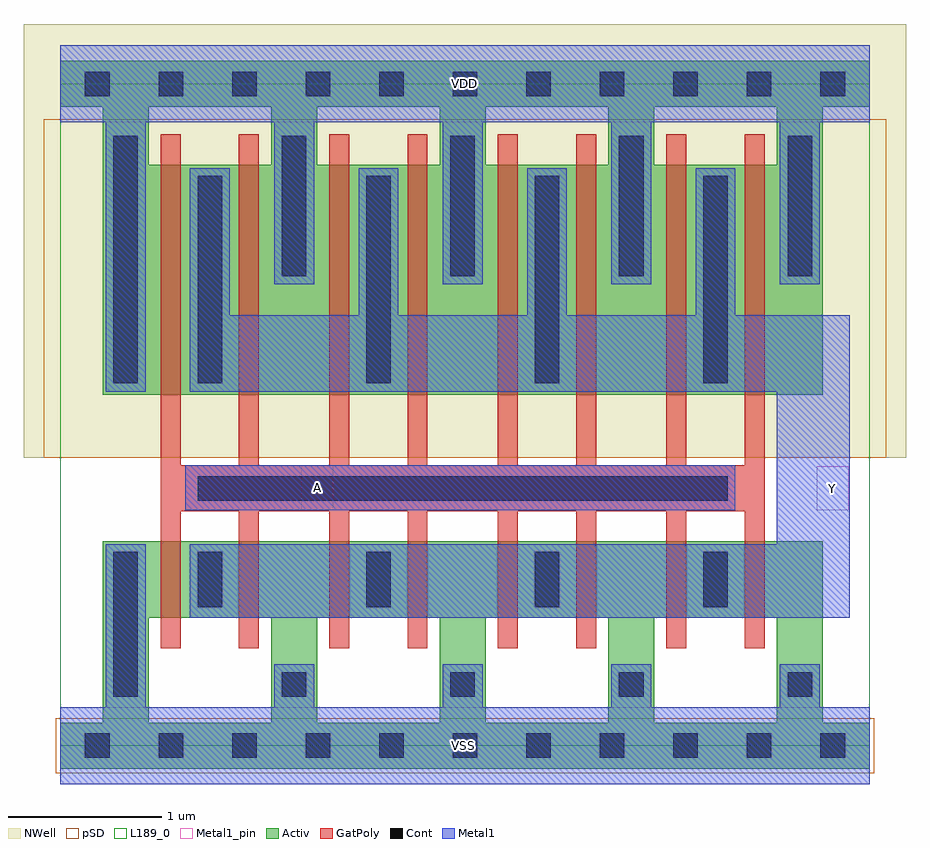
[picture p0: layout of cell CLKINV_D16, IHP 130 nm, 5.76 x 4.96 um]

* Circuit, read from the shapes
.subckt CLKINV_D16 A VDD VSS Y
XM1 Y A VSS VSS sg13_lv_nmos w=0.5u l=0.13u m=8
XM2 Y A VDD VDD sg13_lv_pmos w=1.5u l=0.13u m=8
.ends

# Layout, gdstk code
import gdstk
lib = gdstk.Library(unit=1e-6, precision=1e-09)
def R(c, l, rs):  # rectangles x0, y0, x1, y1
    for r in rs: c.add(gdstk.rectangle(r[:2], r[2:], *l))
def A(c, l, x, y, w, h, nx, ny, dx, dy):  # array of equal rectangles
    R(c, l, [(x+i*dx, y+j*dy, x+i*dx+w, y+j*dy+h) for i in range(nx) for j in range(ny)])
def P(c, l, *ps):  # polygons
    for p in ps: c.add(gdstk.Polygon(p, *l))
Activ = (1, 0)
GatPoly = (5, 0)
Cont = (6, 0)
Metal1 = (8, 0)
Metal1_pin = (8, 2)
pSD = (14, 0)
NWell = (31, 0)
L189_0 = (189, 0)

clkinv_d16 = lib.new_cell('CLKINV_D16')
P(clkinv_d16, Activ, [(0.275,2.29),(0.275,4.17),(0.575,4.17),(0.575,3.79),(1.375,3.79),(1.375,4.17),(1.675,4.17),(1.675,3.79),(2.475,3.79),(2.775,3.79),(3.575,3.79),(3.575,4.17),(3.875,4.17),(3.875,3.79),(4.675,3.79),(4.675,4.17),(2.775,4.17),(2.775,3.79),(2.475,3.79),(2.475,4.17),(0,4.17),(0,4.47),(5.28,4.47),(5.28,4.17),(4.975,4.17),(4.975,2.29)],
  [(0,-0.15),(0,0.15),(0.275,0.15),(0.575,0.15),(1.375,0.15),(1.675,0.15),(2.475,0.15),(2.775,0.15),(3.575,0.15),(3.875,0.15),(4.675,0.15),(4.675,0.835),(3.875,0.835),(3.875,0.15),(3.575,0.15),(3.575,0.835),(2.775,0.835),(2.775,0.15),(2.475,0.15),(2.475,0.835),(1.675,0.835),(1.675,0.15),(1.375,0.15),(1.375,0.835),(0.575,0.835),(0.575,0.15),(0.275,0.15),(0.275,1.335),(4.975,1.335),(4.975,0.15),(5.28,0.15),(5.28,-0.15)])
P(clkinv_d16, GatPoly, [(0.655,0.635),(0.655,3.99),(0.785,3.99),(0.785,1.83),(1.165,1.83),(1.165,3.99),(1.295,3.99),(1.295,1.83),(1.755,1.83),(1.755,3.99),(1.885,3.99),(1.885,1.83),(2.265,1.83),(2.265,3.99),(2.395,3.99),(2.395,1.83),(2.855,1.83),(2.855,3.99),(2.985,3.99),(2.985,1.83),(3.365,1.83),(3.365,3.99),(3.495,3.99),(3.495,1.83),(3.955,1.83),(3.955,3.99),(4.085,3.99),(4.085,1.83),(4.465,1.83),(4.465,3.99),(4.595,3.99),(4.595,0.635),(4.465,0.635),(4.465,1.53),(4.085,1.53),(4.085,0.635),(3.955,0.635),(3.955,1.53),(3.495,1.53),(3.495,0.635),(3.365,0.635),(3.365,1.53),(2.985,1.53),(2.985,0.635),(2.855,0.635),(2.855,1.53),(2.395,1.53),(2.395,0.635),(2.265,0.635),(2.265,1.53),(1.885,1.53),(1.885,0.635),(1.755,0.635),(1.755,1.53),(1.295,1.53),(1.295,0.635),(1.165,0.635),(1.165,1.53),(0.785,1.53),(0.785,0.635)])
A(clkinv_d16, Cont, 0.16, -0.08, 0.16, 0.16, 11, 2, 0.48, 4.32)
A(clkinv_d16, Cont, 1.445, 0.32, 0.16, 0.16, 4, 1, 1.1, 0)
A(clkinv_d16, Cont, 0.895, 0.905, 0.16, 0.36, 4, 1, 1.1, 0)
A(clkinv_d16, Cont, 0.895, 2.365, 0.16, 1.355, 4, 1, 1.1, 0)
A(clkinv_d16, Cont, 1.445, 3.065, 0.16, 0.915, 4, 1, 1.1, 0)
R(clkinv_d16, Cont, [(0.345,0.32,0.505,1.265), (0.895,1.6,4.355,1.76), (0.345,2.365,0.505,3.98)])
R(clkinv_d16, Metal1, [(0.845,0.835,5.15,1.315), (0.815,1.535,4.405,1.83), (0.295,2.31,0.555,4.07), (1.395,3.01,1.655,4.07), (3.595,3.01,3.855,4.07)])
P(clkinv_d16, Metal1, [(2.495,3.01),(2.495,4.07),(0,4.07),(0,4.57),(5.28,4.57),(5.28,4.07),(4.955,4.07),(4.955,3.01),(4.695,3.01),(4.695,4.07),(2.755,4.07),(2.755,3.01)],
  [(4.675,1.315),(4.675,2.31),(0.845,2.31),(0.845,3.77),(1.105,3.77),(1.105,2.81),(1.945,2.81),(1.945,3.77),(2.205,3.77),(2.205,2.81),(3.045,2.81),(3.045,3.77),(3.305,3.77),(3.305,2.81),(4.145,2.81),(4.145,3.77),(4.405,3.77),(4.405,2.81),(5.15,2.81),(5.15,1.315)],
  [(0,-0.25),(0,0.25),(0.295,0.25),(0.295,1.315),(0.555,1.315),(0.555,0.25),(1.395,0.25),(1.395,0.53),(1.655,0.53),(1.655,0.25),(2.495,0.25),(2.495,0.53),(2.755,0.53),(2.755,0.25),(3.595,0.25),(3.595,0.53),(3.855,0.53),(3.855,0.25),(4.695,0.25),(4.695,0.53),(4.955,0.53),(4.955,0.25),(5.28,0.25),(5.28,-0.25)])
R(clkinv_d16, Metal1_pin, [(0,-0.25,5.28,0.25), (1.57,1.535,1.78,1.83), (4.935,1.535,5.145,1.825), (0,4.07,5.28,4.57)])
R(clkinv_d16, pSD, [(-0.03,-0.18,5.31,0.18), (-0.11,1.88,5.39,4.09)])
R(clkinv_d16, NWell, [(-0.24,1.88,5.52,4.71)])
R(clkinv_d16, L189_0, [(0,0,5.28,4.32)])
clkinv_d16.add(gdstk.Label('A', (1.675,1.685), layer=8, texttype=25))
clkinv_d16.add(gdstk.Label('VDD', (2.635,4.32), layer=8, texttype=25))
clkinv_d16.add(gdstk.Label('VSS', (2.63,0), layer=8, texttype=25))
clkinv_d16.add(gdstk.Label('Y', (5.04,1.68), layer=8, texttype=25))

lib.write_gds('CLKINV_D16.gds')
